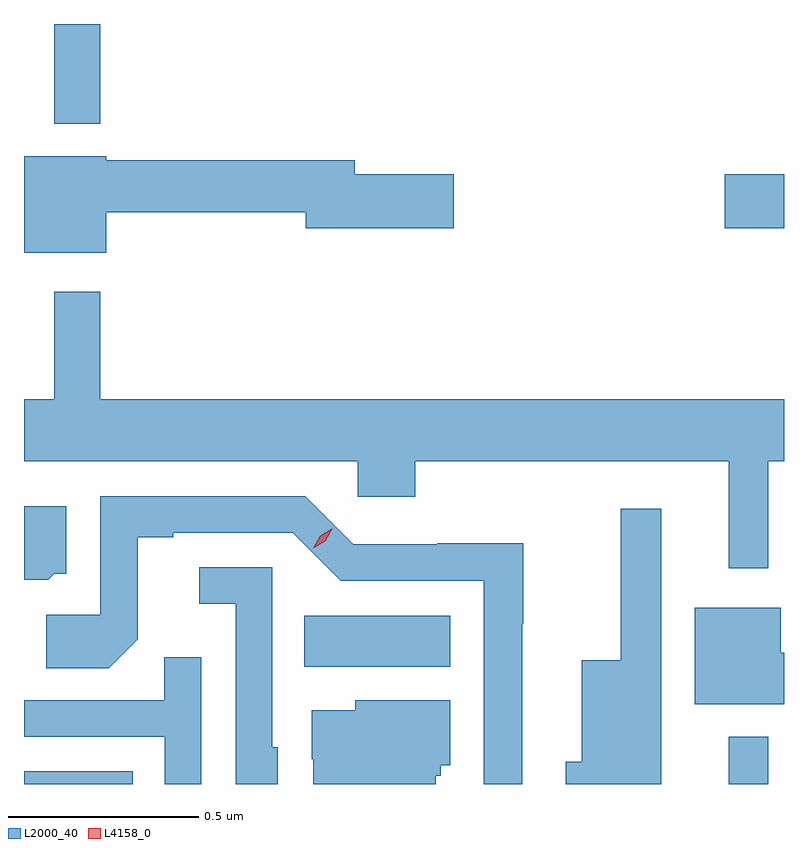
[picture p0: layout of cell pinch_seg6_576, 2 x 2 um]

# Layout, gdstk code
import gdstk
lib = gdstk.Library(unit=1e-6, precision=1e-09)
def R(c, l, rs):  # rectangles x0, y0, x1, y1
    for r in rs: c.add(gdstk.rectangle(r[:2], r[2:], *l))
def P(c, l, *ps):  # polygons
    for p in ps: c.add(gdstk.Polygon(p, *l))
L2000_40 = (2000, 40)
L4158_0 = (4158, 0)

pinch_seg6_576 = lib.new_cell('pinch_seg6_576')
R(pinch_seg6_576, L2000_40, [(627.694,978.455,627.98,978.489), (629.549,978.455,629.653,978.58), (628.432,978.764,628.816,978.898), (629.538,979.918,629.694,980.06), (627.773,980.192,627.895,980.455)])
P(pinch_seg6_576, L2000_40, [(627.91,979.96),(628.436,979.96),(628.436,979.918),(628.825,979.918),(628.825,980.06),(628.564,980.06),(628.564,980.096),(627.91,980.096),(627.91,980.107),(627.694,980.107),(627.694,979.853),(627.91,979.853)],
  [(629.653,979.304),(629.694,979.304),(629.694,979.468),(627.895,979.468),(627.895,979.75),(627.773,979.75),(627.773,979.468),(627.694,979.468),(627.694,979.304),(628.572,979.304),(628.572,979.211),(628.724,979.211),(628.724,979.304),(629.549,979.304),(629.549,979.023),(629.653,979.023)],
  [(629.005,978.877),(629.008,978.877),(629.008,979.088),(628.782,979.088),(628.782,979.086),(628.56,979.086),(628.434,979.212),(627.894,979.212),(627.894,978.9),(627.753,978.9),(627.753,978.76),(627.917,978.76),(627.993,978.836),(627.993,979.104),(628.087,979.104),(628.087,979.116),(628.401,979.116),(628.527,978.99),(628.904,978.99),(628.904,978.455),(629.005,978.455)],
  [(627.774,979.008),(627.805,979.008),(627.805,979.186),(627.694,979.186),(627.694,978.992),(627.758,978.992)],
  [(629.371,979.18),(629.265,979.18),(629.265,978.781),(629.162,978.781),(629.162,978.514),(629.12,978.514),(629.12,978.455),(629.371,978.455)],
  [(628.362,978.552),(628.347,978.552),(628.347,979.026),(628.155,979.026),(628.155,978.929),(628.251,978.929),(628.251,978.455),(628.362,978.455)],
  [(629.694,978.801),(629.686,978.801),(629.686,978.919),(629.459,978.919),(629.459,978.665),(629.694,978.665)],
  [(628.161,978.788),(628.063,978.788),(628.063,978.675),(627.694,978.675),(627.694,978.579),(628.065,978.579),(628.065,978.455),(628.161,978.455)],
  [(628.777,978.477),(628.791,978.477),(628.791,978.504),(628.816,978.504),(628.816,978.676),(628.566,978.676),(628.566,978.649),(628.451,978.649),(628.451,978.52),(628.455,978.52),(628.455,978.455),(628.777,978.455)])
P(pinch_seg6_576, L4158_0, [(628.455,979.075),(628.455,979.076),(628.473,979.108),(628.504,979.127),(628.505,979.127),(628.505,979.127),(628.487,979.094),(628.455,979.075)])

lib.write_gds('pinch_seg6_576.gds')
